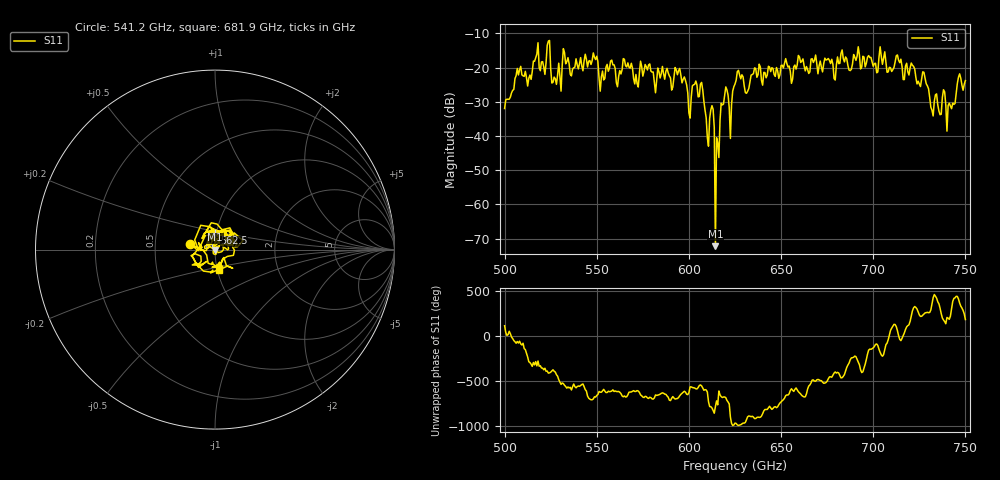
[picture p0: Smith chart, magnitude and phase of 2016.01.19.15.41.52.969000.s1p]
!Created with skrf (http://scikit-rf.org).
# GHz S RI R 50.0
!freq ReS11 ImS11
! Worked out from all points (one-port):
!   401 points, 500 GHz to 750 GHz, reference 50 ohm
!   lowest |S11| = -72.2 dB at 614.4 GHz (marker M1), VSWR 1.00, Z = 50 - j0.0227 ohm
!   |S11| at or under -10 dB: start of sweep to end of sweep
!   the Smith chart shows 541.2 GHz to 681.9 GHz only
!   S11 on the Smith chart (normalised r, x): 541.2 GHz: 0.76, +0.05; 562.5 GHz: 0.98, +0.18; 681.9 GHz: 1.01, -0.23
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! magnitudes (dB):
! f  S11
! 500 GHz  -31.9
! 507.5 GHz  -22.1
! 513.8 GHz  -22.2
! 516.9 GHz  -17.1
! 520.6 GHz  -18.3
! 523.8 GHz  -12.3
! 526.9 GHz  -22.8
! 531.2 GHz  -19.3
! 541.2 GHz  -17.1
! 562.5 GHz  -20.9
! 593.8 GHz  -22.1
! 600 GHz  -33.2
! 606.9 GHz  -24.3
! 610 GHz  -40.6
! 612.5 GHz  -31.1
! 614.4 GHz  -72.2
! 615.6 GHz  -42.0
! 616.2 GHz  -46.3
! 618.8 GHz  -30.6
! 622.5 GHz  -40.7
! 625 GHz  -24.8
! 656.2 GHz  -23.4
! 681.9 GHz  -18.7
! 687.5 GHz  -20.9
! 718.8 GHz  -21.2
! 741.2 GHz  -30.4
! 746.2 GHz  -22.8
! 750 GHz  -23.8
